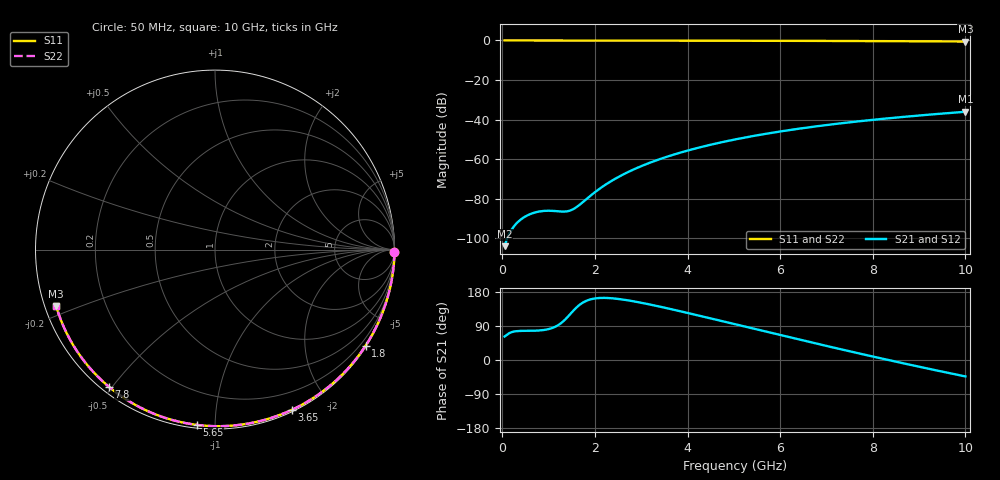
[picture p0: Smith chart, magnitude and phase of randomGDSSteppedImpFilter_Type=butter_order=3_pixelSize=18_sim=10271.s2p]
! freq	dB(S11)	phase(S11)	dB(S12)	phase(S12)
!  dB(S21)	phase(S21)	dB(S22)	phase(S22)
!S-par simulation data
#  GHz  S  DB  R 50
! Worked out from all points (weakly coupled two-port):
!   200 points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, 50 MHz to 10 GHz, reference 50 ohm
!   highest |S21| = -36.01 dB at 10 GHz (marker M1); lowest = -103.9 dB at 50 MHz (marker M2)
!   lowest |S11| = -0.5 dB at 10 GHz (marker M3), VSWR 31.94, Z = 1.61 - j8.64 ohm
!   |S11| at or under -10 dB: nowhere
!   |S22| runs from -0.5 to 0.0 dB; largest |S21 - S12| = 0
!   S11 on the Smith chart (normalised r, x): 50 MHz: open; 1.8 GHz: 0.03, -3.42; 3.65 GHz: 0.02, -1.59; 5.65 GHz: 0.02, -0.90; 7.8 GHz: 0.02, -0.49; 10 GHz: 0.03, -0.17
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0.05  -0.00 -0.9  -103.89 62.0  -103.89 62.0  -0.00 -0.9
0.45  -0.01 -8.3  -89.58 77.0  -89.58 77.0  -0.01 -8.3
0.85  -0.02 -15.6  -86.20 78.5  -86.20 78.5  -0.02 -15.6
1.3  -0.03 -23.7  -86.43 100.3  -86.43 100.3  -0.03 -23.7
1.75  -0.04 -31.7  -81.44 152.2  -81.44 152.2  -0.04 -31.7
1.8  -0.04 -32.6  -80.45 155.3  -80.45 155.3  -0.04 -32.6
1.85  -0.04 -33.5  -79.47 157.8  -79.47 157.8  -0.04 -33.5
2.05  -0.05 -37.0  -75.76 163.2  -75.76 163.2  -0.05 -37.0
2.2  -0.05 -39.6  -73.28 163.9  -73.28 163.9  -0.05 -39.6
2.55  -0.06 -45.7  -68.41 160.4  -68.41 160.4  -0.06 -45.7
2.95  -0.07 -52.5  -63.97 152.2  -63.97 152.2  -0.07 -52.6
3.4  -0.08 -60.1  -59.94 140.9  -59.94 140.9  -0.08 -60.1
3.65  -0.09 -64.3  -58.02 134.1  -58.02 134.1  -0.09 -64.3
4.3  -0.11 -74.9  -53.78 115.6  -53.78 115.6  -0.11 -74.9
5.05  -0.13 -86.7  -49.88 93.6  -49.88 93.6  -0.13 -86.7
5.65  -0.16 -95.9  -47.30 76.1  -47.30 76.1  -0.16 -96.0
6.15  -0.18 -103.5  -45.44 61.5  -45.44 61.5  -0.18 -103.5
6.7  -0.22 -111.6  -43.62 45.7  -43.62 45.7  -0.22 -111.7
7.8  -0.30 -127.7  -40.57 14.6  -40.57 14.6  -0.30 -127.7
8.35  -0.35 -135.7  -39.28 -0.4  -39.28 -0.4  -0.35 -135.7
9.2  -0.44 -148.2  -37.51 -22.9  -37.51 -22.9  -0.44 -148.3
10  -0.54 -160.4  -36.01 -43.4  -36.01 -43.4  -0.54 -160.4
